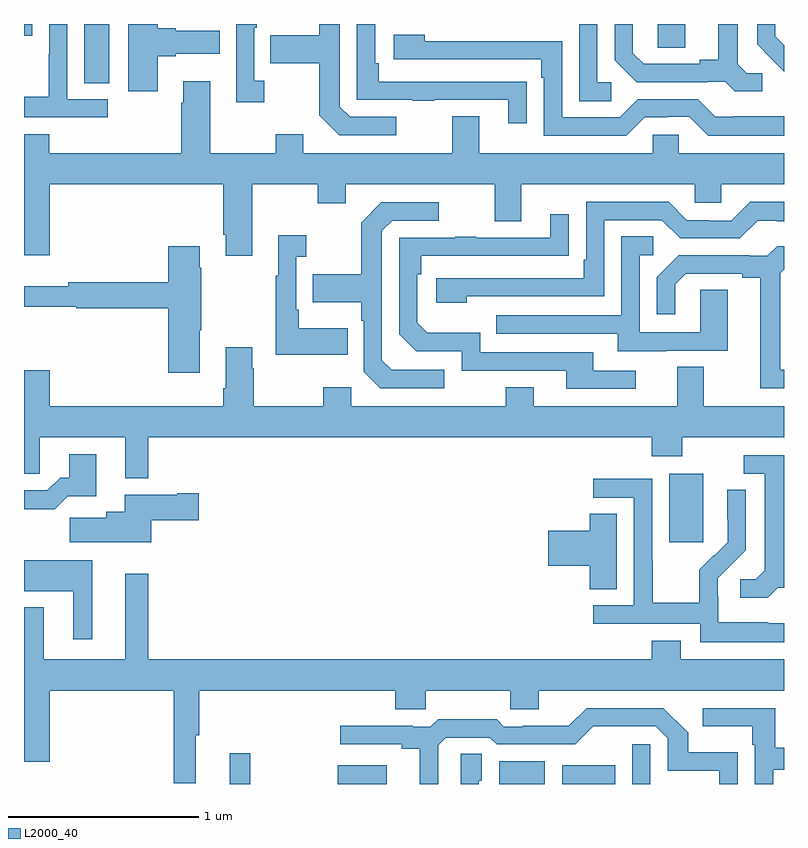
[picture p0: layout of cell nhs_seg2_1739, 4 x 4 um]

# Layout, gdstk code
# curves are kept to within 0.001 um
import gdstk
lib = gdstk.Library(unit=1e-6, precision=1e-09)
def R(c, l, rs):  # rectangles x0, y0, x1, y1
    for r in rs: c.add(gdstk.rectangle(r[:2], r[2:], *l))
def P(c, l, *ps):  # polygons
    for p in ps: c.add(gdstk.Polygon(p, *l))
L2000_40 = (2000, 40)

nhs_seg2_1739 = lib.new_cell('nhs_seg2_1739')
R(nhs_seg2_1739, L2000_40, [(202.082,657.8,202.192,657.961), (202.652,657.8,202.909,657.898), (203.501,657.8,203.74,657.919), (203.834,657.8,204.112,657.898), (204.201,657.8,204.297,658.009), (204.395,659.073,204.574,659.434), (201.317,661.489,201.448,661.8), (204.336,661.675,204.481,661.8), (201,661.737,201.043,661.8)])
P(nhs_seg2_1739, L2000_40, [(204.886,661.542),(204.804,661.542),(204.757,661.589),(204.757,661.8),(204.653,661.8),(204.653,661.613),(204.557,661.613),(204.557,661.59),(204.262,661.59),(204.205,661.647),(204.205,661.8),(204.108,661.8),(204.108,661.61),(204.224,661.494),(204.596,661.494),(204.596,661.497),(204.69,661.497),(204.742,661.445),(204.886,661.445)],
  [(201.442,661.404),(201.228,661.404),(201.228,661.8),(201.132,661.8),(201.132,661.64),(201.13,661.64),(201.13,661.417),(201,661.417),(201,661.308),(201.442,661.308)],
  [(202.96,661.311),(202.716,661.311),(202.662,661.365),(202.662,661.8),(202.554,661.8),(202.554,661.741),(202.297,661.741),(202.297,661.594),(202.554,661.594),(202.554,661.321),(202.659,661.215),(202.96,661.215)],
  [(203.645,661.496),(203.543,661.496),(203.543,661.497),(202.868,661.497),(202.868,661.594),(202.848,661.594),(202.848,661.8),(202.752,661.8),(202.752,661.401),(203.047,661.401),(203.047,661.396),(203.159,661.396),(203.159,661.401),(203.549,661.401),(203.549,661.278),(203.645,661.278)],
  [(202.264,661.502),(202.212,661.502),(202.212,661.781),(202.225,661.781),(202.225,661.8),(202.116,661.8),(202.116,661.389),(202.264,661.389)],
  [(204.091,661.494),(204.018,661.494),(204.018,661.8),(203.922,661.8),(203.922,661.393),(204.091,661.393)],
  [(201.703,661.631),(201.799,661.631),(201.799,661.643),(202.03,661.643),(202.03,661.765),(201.799,661.765),(201.799,661.778),(201.703,661.778),(201.703,661.8),(201.548,661.8),(201.548,661.446),(201.703,661.446)],
  [(205,661.688),(204.953,661.736),(204.953,661.8),(204.858,661.8),(204.858,661.694),(204.931,661.621),(204.93,661.62),(205,661.55)],
  [(205,661.315),(204.739,661.315),(204.739,661.311),(204.639,661.311),(204.546,661.404),(204.231,661.404),(204.135,661.308),(203.832,661.308),(203.832,661.71),(203.108,661.71),(203.108,661.744),(202.947,661.744),(202.947,661.614),(203.723,661.614),(203.723,661.517),(203.736,661.517),(203.736,661.212),(204.171,661.212),(204.267,661.308),(204.386,661.308),(204.386,661.311),(204.501,661.311),(204.601,661.211),(205,661.211)],
  [(202.201,660.956),(202.546,660.956),(202.546,660.857),(202.693,660.857),(202.693,660.956),(203.477,660.956),(203.477,660.762),(203.617,660.762),(203.617,660.956),(204.531,660.956),(204.531,660.858),(204.669,660.858),(204.669,660.956),(205,660.956),(205,661.12),(204.447,661.12),(204.447,661.218),(204.309,661.218),(204.309,661.12),(203.395,661.12),(203.395,661.315),(203.255,661.315),(203.255,661.12),(202.471,661.12),(202.471,661.219),(202.324,661.219),(202.324,661.12),(201.979,661.12),(201.979,661.498),(201.839,661.498),(201.839,661.385),(201.827,661.385),(201.827,661.12),(201.134,661.12),(201.134,661.219),(201,661.219),(201,660.582),(201.136,660.582),(201.136,660.956),(202.049,660.956),(202.049,660.691),(202.061,660.691),(202.061,660.579),(202.201,660.579)],
  [(203.33,660.366),(204.054,660.366),(204.054,660.768),(204.357,660.768),(204.453,660.672),(204.768,660.672),(204.861,660.765),(204.961,660.765),(204.961,660.761),(205,660.761),(205,660.865),(204.823,660.865),(204.723,660.765),(204.608,660.765),(204.608,660.768),(204.489,660.768),(204.393,660.864),(203.958,660.864),(203.958,660.559),(203.945,660.559),(203.945,660.462),(203.169,660.462),(203.169,660.332),(203.33,660.332)],
  [(203.212,659.979),(202.935,659.979),(202.884,660.03),(202.884,660.711),(202.938,660.765),(203.182,660.765),(203.182,660.861),(202.881,660.861),(202.776,660.755),(202.776,660.483),(202.519,660.483),(202.519,660.335),(202.776,660.335),(202.776,660.239),(202.788,660.239),(202.788,659.97),(202.875,659.883),(203.212,659.883)],
  [(204.22,659.976),(203.995,659.976),(203.995,660.072),(203.4,660.072),(203.4,660.175),(203.123,660.175),(203.07,660.228),(203.07,660.482),(203.09,660.482),(203.09,660.579),(203.867,660.58),(203.867,660.799),(203.771,660.799),(203.771,660.675),(203.381,660.675),(203.381,660.68),(203.269,660.68),(203.269,660.675),(202.974,660.675),(202.974,660.168),(203.064,660.078),(203.304,660.078),(203.304,659.976),(203.855,659.976),(203.855,659.88),(204.22,659.88)],
  [(202.703,660.199),(202.447,660.199),(202.447,660.295),(202.434,660.295),(202.434,660.575),(202.486,660.575),(202.486,660.688),(202.337,660.688),(202.337,660.475),(202.326,660.475),(202.326,660.059),(202.703,660.059)],
  [(204.379,660.081),(204.703,660.081),(204.703,660.401),(204.558,660.401),(204.558,660.177),(204.24,660.177),(204.24,660.582),(204.313,660.582),(204.313,660.683),(204.144,660.683),(204.144,660.267),(203.485,660.267),(203.485,660.171),(204.125,660.171),(204.125,660.077),(204.379,660.077)],
  [(205,659.979),(204.979,659.979),(204.979,660.487),(205,660.508),(205,660.631),(204.964,660.631),(204.912,660.579),(204.818,660.579),(204.818,660.582),(204.446,660.582),(204.33,660.466),(204.33,660.273),(204.427,660.273),(204.427,660.429),(204.484,660.486),(204.779,660.486),(204.779,660.464),(204.875,660.464),(204.875,659.883),(205,659.883)],
  [(201.925,660.187),(201.933,660.187),(201.933,660.518),(201.925,660.518),(201.925,660.631),(201.758,660.631),(201.758,660.44),(201.232,660.44),(201.232,660.421),(201,660.421),(201,660.312),(201.274,660.312),(201.274,660.304),(201.758,660.304),(201.758,659.964),(201.925,659.964)],
  [(201.655,659.624),(204.305,659.624),(204.305,659.525),(204.465,659.525),(204.465,659.624),(205,659.624),(205,659.788),(204.577,659.788),(204.577,659.996),(204.437,659.996),(204.437,659.788),(203.683,659.788),(203.683,659.887),(203.536,659.887),(203.536,659.788),(202.722,659.788),(202.722,659.887),(202.576,659.887),(202.576,659.788),(202.209,659.788),(202.209,659.987),(202.201,659.987),(202.201,660.1),(202.061,660.1),(202.061,659.884),(202.049,659.884),(202.049,659.788),(201.136,659.788),(201.136,659.977),(201,659.977),(201,659.434),(201.084,659.434),(201.084,659.624),(201.533,659.624),(201.533,659.408),(201.655,659.408)],
  [(201.23,659.315),(201.379,659.315),(201.379,659.536),(201.239,659.536),(201.239,659.413),(201.19,659.413),(201.123,659.346),(201,659.346),(201,659.246),(201.161,659.246)],
  [(204.966,658.833),(205,658.833),(205,659.529),(204.789,659.529),(204.789,659.433),(204.899,659.433),(204.899,658.925),(204.852,658.878),(204.771,658.878),(204.771,658.781),(204.914,658.781)],
  [(205,658.647),(204.917,658.647),(204.917,658.651),(204.654,658.651),(204.654,658.785),(204.652,658.785),(204.652,658.882),(204.798,659.03),(204.798,659.348),(204.702,659.348),(204.702,659.194),(204.704,659.194),(204.704,659.072),(204.633,659.001),(204.63,659.004),(204.553,658.927),(204.553,658.753),(204.309,658.753),(204.309,658.976),(204.306,658.976),(204.306,659.406),(203.997,659.406),(203.997,659.307),(204.21,659.307),(204.21,658.74),(203.997,658.74),(203.997,658.644),(204.558,658.644),(204.558,658.547),(205,658.547)],
  [(201.67,659.189),(201.919,659.189),(201.919,659.331),(201.806,659.331),(201.806,659.323),(201.53,659.323),(201.53,659.233),(201.434,659.233),(201.434,659.201),(201.24,659.201),(201.24,659.072),(201.67,659.072)],
  [(204.121,659.222),(203.978,659.222),(203.978,659.132),(203.76,659.132),(203.76,658.949),(203.978,658.949),(203.978,658.825),(204.121,658.825)],
  [(201.358,658.978),(201,658.978),(201,658.814),(201.26,658.814),(201.26,658.563),(201.358,658.563)],
  [(204.305,658.555),(204.305,658.456),(201.655,658.456),(201.655,658.906),(201.533,658.906),(201.533,658.456),(201.103,658.456),(201.103,658.729),(201,658.729),(201,657.918),(201.136,657.918),(201.136,658.292),(201.787,658.292),(201.787,657.804),(201.905,657.804),(201.905,658.056),(201.923,658.056),(201.923,658.292),(202.955,658.292),(202.955,658.194),(203.115,658.194),(203.115,658.292),(203.56,658.292),(203.56,658.194),(203.71,658.194),(203.71,658.292),(205,658.292),(205,658.456),(204.457,658.456),(204.457,658.555)],
  [(203.181,658.005),(203.22,658.044),(203.451,658.044),(203.487,658.008),(203.901,658.008),(203.996,658.103),(204.324,658.104),(204.387,658.041),(204.387,657.87),(204.66,657.87),(204.66,657.8),(204.756,657.8),(204.756,657.967),(204.495,657.967),(204.495,658.07),(204.364,658.2),(203.961,658.2),(203.867,658.106),(203.626,658.106),(203.626,658.101),(203.526,658.101),(203.487,658.141),(203.179,658.141),(203.139,658.101),(203.045,658.101),(203.045,658.106),(202.665,658.106),(202.665,658.008),(202.988,658.008),(202.988,657.986),(203.084,657.986),(203.084,657.8),(203.181,657.8)],
  [(204.943,657.876),(205,657.876),(205,657.992),(204.955,657.992),(204.955,658.2),(204.573,658.2),(204.573,658.103),(204.834,658.103),(204.834,658.007),(204.846,658.007),(204.846,657.8),(204.943,657.8)],
  [(203.394,657.816),(203.41,657.816),(203.41,657.959),(203.298,657.959),(203.298,657.8),(203.394,657.8)])

lib.write_gds('nhs_seg2_1739.gds')
